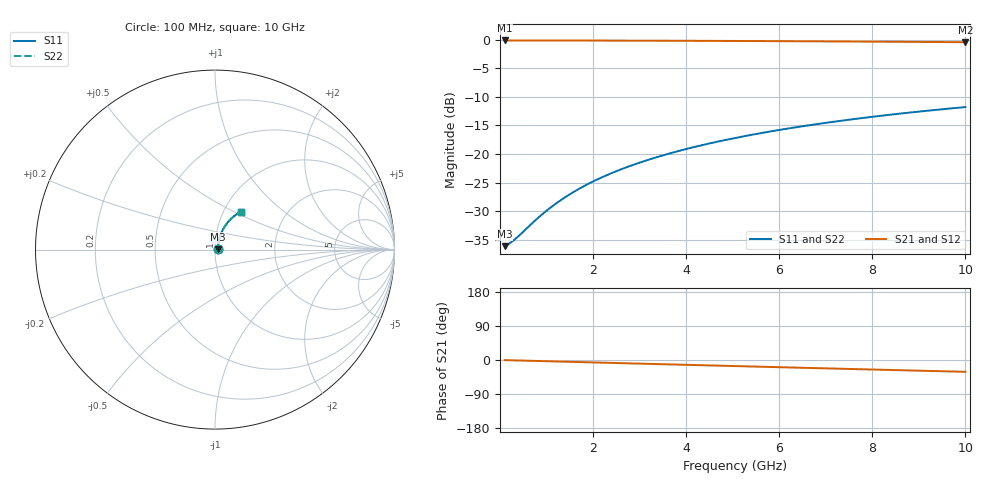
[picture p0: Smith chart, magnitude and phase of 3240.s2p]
# Hz S RI R 50.00
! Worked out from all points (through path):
!   100 points, 100 MHz to 10 GHz, reference 50 ohm
!   highest |S21| = -0.13 dB at 100 MHz (marker M1); lowest = -0.4 dB at 10 GHz (marker M2)
!   group delay of S21, straight-line fit = 8.67 ps
!   lowest |S11| = -36.1 dB at 100 MHz (marker M3), VSWR 1.03, Z = 51.6 + j0.277 ohm
!   |S11| at or under -10 dB: start of sweep to end of sweep
!   |S22| runs from -36.1 to -11.8 dB; largest |S21 - S12| = 0
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1e8  0.0154 0.00268  0.9846 -0.00548  0.9846 -0.00548  0.0154 0.00268
2e8  0.0155 0.00536  0.9845 -0.011  0.9845 -0.011  0.0155 0.00536
3e8  0.0157 0.00804  0.9843 -0.0164  0.9843 -0.0164  0.0157 0.00804
4e8  0.0158 0.0107  0.9841 -0.0219  0.9841 -0.0219  0.0158 0.0107
8e8  0.0167 0.0214  0.983 -0.0438  0.983 -0.0438  0.0167 0.0214
1.1e9  0.0176 0.0294  0.9818 -0.0602  0.9818 -0.0602  0.0176 0.0294
1.4e9  0.0188 0.0373  0.9803 -0.0765  0.9803 -0.0765  0.0188 0.0373
1.6e9  0.0198 0.0426  0.9792 -0.0874  0.9792 -0.0874  0.0198 0.0426
1.8e9  0.0208 0.0478  0.9778 -0.0982  0.9778 -0.0982  0.0208 0.0478
2.1e9  0.0226 0.0556  0.9756 -0.1145  0.9756 -0.1145  0.0226 0.0556
2.5e9  0.0254 0.0659  0.9721 -0.136  0.9721 -0.136  0.0254 0.0659
2.9e9  0.0286 0.076  0.968 -0.1573  0.968 -0.1573  0.0286 0.076
3.4e9  0.0333 0.0885  0.9621 -0.1838  0.9621 -0.1838  0.0333 0.0885
3.8e9  0.0375 0.0982  0.9567 -0.2047  0.9567 -0.2047  0.0375 0.0982
4.2e9  0.0421 0.1077  0.9508 -0.2254  0.9508 -0.2254  0.0421 0.1077
4.6e9  0.0471 0.117  0.9444 -0.2459  0.9444 -0.2459  0.0471 0.117
5.1e9  0.0539 0.1282  0.9356 -0.2712  0.9356 -0.2712  0.0539 0.1282
5.9e9  0.066 0.1453  0.92 -0.3107  0.92 -0.3107  0.066 0.1453
6.7e9  0.0794 0.1612  0.9025 -0.349  0.9025 -0.349  0.0794 0.1612
7.5e9  0.0941 0.1757  0.8832 -0.3859  0.8832 -0.3859  0.0941 0.1757
8.4e9  0.1119 0.1904  0.8596 -0.4258  0.8596 -0.4258  0.1119 0.1904
1e10  0.1461 0.2117  0.8133 -0.492  0.8133 -0.492  0.1461 0.2117
